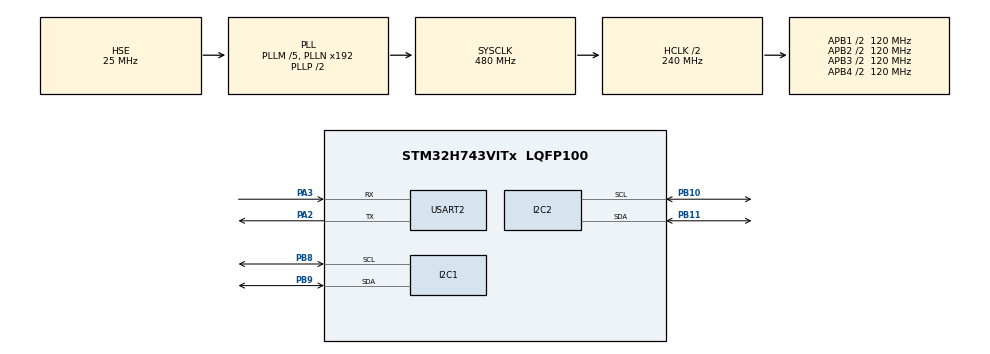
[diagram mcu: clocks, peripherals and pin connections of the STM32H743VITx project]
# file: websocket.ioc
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CORTEX_M7.default_mode_Activation=1
Dma.Request0=USART2_RX
Dma.Request1=USART2_TX
Dma.USART2_RX.0.Direction=DMA_PERIPH_TO_MEMORY
Dma.USART2_RX.0.EventEnable=DISABLE
Dma.USART2_RX.0.FIFOMode=DMA_FIFOMODE_DISABLE
Dma.USART2_RX.0.Instance=DMA1_Stream0
Dma.USART2_RX.0.MemDataAlignment=DMA_MDATAALIGN_BYTE
Dma.USART2_RX.0.MemInc=DMA_MINC_ENABLE
Dma.USART2_RX.0.Mode=DMA_NORMAL
Dma.USART2_RX.0.PeriphDataAlignment=DMA_PDATAALIGN_BYTE
Dma.USART2_RX.0.PeriphInc=DMA_PINC_DISABLE
Dma.USART2_RX.0.Polarity=HAL_DMAMUX_REQ_GEN_RISING
Dma.USART2_RX.0.Priority=DMA_PRIORITY_HIGH
Dma.USART2_RX.0.RequestNumber=1
Dma.USART2_RX.0.SignalID=NONE
Dma.USART2_RX.0.SyncEnable=DISABLE
Dma.USART2_RX.0.SyncPolarity=HAL_DMAMUX_SYNC_NO_EVENT
Dma.USART2_RX.0.SyncRequestNumber=1
Dma.USART2_RX.0.SyncSignalID=NONE
Dma.USART2_TX.1.Direction=DMA_MEMORY_TO_PERIPH
Dma.USART2_TX.1.EventEnable=DISABLE
Dma.USART2_TX.1.FIFOMode=DMA_FIFOMODE_DISABLE
Dma.USART2_TX.1.Instance=DMA1_Stream1
Dma.USART2_TX.1.MemDataAlignment=DMA_MDATAALIGN_BYTE
Dma.USART2_TX.1.MemInc=DMA_MINC_ENABLE
Dma.USART2_TX.1.Mode=DMA_NORMAL
Dma.USART2_TX.1.PeriphDataAlignment=DMA_PDATAALIGN_BYTE
Dma.USART2_TX.1.PeriphInc=DMA_PINC_DISABLE
Dma.USART2_TX.1.Polarity=HAL_DMAMUX_REQ_GEN_RISING
Dma.USART2_TX.1.Priority=DMA_PRIORITY_LOW
Dma.USART2_TX.1.RequestNumber=1
Dma.USART2_TX.1.SignalID=NONE
Dma.USART2_TX.1.SyncEnable=DISABLE
Dma.USART2_TX.1.SyncPolarity=HAL_DMAMUX_SYNC_NO_EVENT
Dma.USART2_TX.1.SyncRequestNumber=1
Dma.USART2_TX.1.SyncSignalID=NONE
FREERTOS.Tasks01=SafetyTask,40,256,StartSafetyTask,Default,NULL,Dynamic,NULL,NULL;ServoTask,32,384,StartServoTask,Default,NULL,Dynamic,NULL,NULL;EspRxTask,24,512,StartEspRxTask,Default,NULL,Dynamic,NULL,NULL;EspTxTask,24,512,StartEspTxTask,Default,NULL,Dynamic,NULL,NULL;OledTask,16,512,StartOledTask,Default,NULL,Dynamic,NULL,NULL;MonitorTask,8,256,StartMonitorTask,Default,NULL,Dynamic,NULL,NULL
FREERTOS.configCHECK_FOR_STACK_OVERFLOW=2
FREERTOS.configSUPPORT_STATIC_ALLOCATION=0
FREERTOS.configTOTAL_HEAP_SIZE=32768
FREERTOS.configUSE_MALLOC_FAILED_HOOK=1
I2C1.Timing=0x307075B1
I2C2.Timing=0x307075B1
Mcu.Family=STM32H7
Mcu.Name=STM32H743VITx
Mcu.Package=LQFP100
NVIC.DMA1_Stream0_IRQn=true\:5\:0\:false\:false\:true\:true\:false\:true\:true
NVIC.DMA1_Stream1_IRQn=true\:6\:0\:false\:false\:true\:true\:false\:true\:true
NVIC.PriorityGroup=NVIC_PRIORITYGROUP_4
NVIC.TIM6_DAC_IRQn=true\:15\:0\:false\:false\:true\:false\:false\:true\:false
NVIC.USART2_IRQn=true\:5\:0\:false\:false\:true\:true\:true\:true\:true
PA2.Mode=Asynchronous
PA2.Signal=USART2_TX
PA3.Mode=Asynchronous
PA3.Signal=USART2_RX
PB10.Mode=I2C
PB10.Signal=I2C2_SCL
PB11.Mode=I2C
PB11.Signal=I2C2_SDA
PB8.Mode=I2C
PB8.Signal=I2C1_SCL
PB9.Mode=I2C
PB9.Signal=I2C1_SDA
PH0-OSC_IN\ (PH0).Mode=HSE-External-Oscillator
PH0-OSC_IN\ (PH0).Signal=RCC_OSC_IN
PH1-OSC_OUT\ (PH1).Mode=HSE-External-Oscillator
PH1-OSC_OUT\ (PH1).Signal=RCC_OSC_OUT
ProjectManager.HeapSize=0x200
ProjectManager.StackSize=0x400
ProjectManager.TargetToolchain=MDK-ARM V5.32
RCC.ADCFreq_Value=50390625
RCC.APB1Freq_Value=120000000
RCC.APB2Freq_Value=120000000
RCC.APB3Freq_Value=120000000
RCC.APB4Freq_Value=120000000
RCC.CortexFreq_Value=480000000
RCC.D1PPRE=RCC_APB3_DIV2
RCC.D2PPRE1=RCC_APB1_DIV2
RCC.D2PPRE2=RCC_APB2_DIV2
RCC.D3PPRE=RCC_APB4_DIV2
RCC.DIVM1=5
RCC.DIVN1=192
RCC.HCLKFreq_Value=240000000
RCC.HPRE=RCC_HCLK_DIV2
RCC.PLLFRACN=0
RCC.PLLSourceVirtual=RCC_PLLSOURCE_HSE
RCC.SYSCLKFreq_VALUE=480000000
RCC.SYSCLKSource=RCC_SYSCLKSOURCE_PLLCLK
RCC.USBFreq_Value=480000000
USART2.VirtualMode-Asynchronous=VM_ASYNC
VP_FREERTOS_VS_CMSIS_V2.Mode=CMSIS_V2
VP_MEMORYMAP_VS_MEMORYMAP.Mode=CurAppReg
VP_SYS_VS_tim6.Mode=TIM6
board=custom

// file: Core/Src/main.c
/* USER CODE BEGIN Header */
/**
  ******************************************************************************
  * @file           : main.c
  * @brief          : Main program body
  ******************************************************************************
  * @attention
  *
  * Copyright (c) 2026 STMicroelectronics.
  * All rights reserved.
  *
  * This software is licensed under terms that can be found in the LICENSE file
  * in the root directory of this software component.
  * If no LICENSE file comes with this software, it is provided AS-IS.
  *
  ******************************************************************************
  */
/* USER CODE END Header */
#include "main.h"
#include "FreeRTOS.h"
#include "cmsis_os2.h"
#include "dma.h"
#include "i2c.h"
#include "usart.h"
#include "gpio.h"

/* USER CODE BEGIN Includes */
#include "servo_manager.h"
#include "system_status.h"

/* USER CODE END Includes */

void SystemClock_Config(void);
static void MPU_Config(void);
void MX_FREERTOS_Init(void);

int main(void)
{

  /* MPU Configuration--------------------------------------------------------*/
  MPU_Config();

  /* MCU Configuration--------------------------------------------------------*/

  /* Reset of all peripherals, Initializes the Flash interface and the Systick. */
  HAL_Init();

  /* USER CODE BEGIN Init */
  SCB_EnableICache();
  SCB_EnableDCache();

  /* USER CODE END Init */

  /* Configure the system clock */
  SystemClock_Config();

  /* Initialize all configured peripherals */
  MX_GPIO_Init();
  MX_DMA_Init();
  MX_I2C1_Init();
  MX_I2C2_Init();
  MX_USART2_UART_Init();
  /* USER CODE BEGIN 2 */
  SystemStatus_Reset(0U);
  ServoManager_Init();

  /* USER CODE END 2 */

  /* Init scheduler */
  osKernelInitialize();  /* Call init function for freertos objects (in cmsis_os2.c) */
  MX_FREERTOS_Init();

  /* Start scheduler */
  osKernelStart();

  /* We should never get here as control is now taken by the scheduler */

  /* Infinite loop */
  while (1)
  {

  }
}

void SystemClock_Config(void)
{
  RCC_OscInitTypeDef RCC_OscInitStruct = {0};
  RCC_ClkInitTypeDef RCC_ClkInitStruct = {0};

  /** Supply configuration update enable
  */
  HAL_PWREx_ConfigSupply(PWR_LDO_SUPPLY);

  /** Configure the main internal regulator output voltage
  */
  __HAL_PWR_VOLTAGESCALING_CONFIG(PWR_REGULATOR_VOLTAGE_SCALE0);

  while(!__HAL_PWR_GET_FLAG(PWR_FLAG_VOSRDY)) {}

  /** Initializes the RCC Oscillators according to the specified parameters
  * in the RCC_OscInitTypeDef structure.
  */
  RCC_OscInitStruct.OscillatorType = RCC_OSCILLATORTYPE_HSE;
  RCC_OscInitStruct.HSEState = RCC_HSE_ON;
  RCC_OscInitStruct.PLL.PLLState = RCC_PLL_ON;
  RCC_OscInitStruct.PLL.PLLSource = RCC_PLLSOURCE_HSE;
  RCC_OscInitStruct.PLL.PLLM = 5;
  RCC_OscInitStruct.PLL.PLLN = 192;
  RCC_OscInitStruct.PLL.PLLP = 2;
  RCC_OscInitStruct.PLL.PLLQ = 2;
  RCC_OscInitStruct.PLL.PLLR = 2;
  RCC_OscInitStruct.PLL.PLLRGE = RCC_PLL1VCIRANGE_2;
  RCC_OscInitStruct.PLL.PLLVCOSEL = RCC_PLL1VCOWIDE;
  RCC_OscInitStruct.PLL.PLLFRACN = 0;
  if (HAL_RCC_OscConfig(&RCC_OscInitStruct) != HAL_OK)
  {
    Error_Handler();
  }

  /** Initializes the CPU, AHB and APB buses clocks
  */
  RCC_ClkInitStruct.ClockType = RCC_CLOCKTYPE_HCLK|RCC_CLOCKTYPE_SYSCLK
                              |RCC_CLOCKTYPE_PCLK1|RCC_CLOCKTYPE_PCLK2
                              |RCC_CLOCKTYPE_D3PCLK1|RCC_CLOCKTYPE_D1PCLK1;
  RCC_ClkInitStruct.SYSCLKSource = RCC_SYSCLKSOURCE_PLLCLK;
  RCC_ClkInitStruct.SYSCLKDivider = RCC_SYSCLK_DIV1;
  RCC_ClkInitStruct.AHBCLKDivider = RCC_HCLK_DIV2;
  RCC_ClkInitStruct.APB3CLKDivider = RCC_APB3_DIV2;
  RCC_ClkInitStruct.APB1CLKDivider = RCC_APB1_DIV2;
  RCC_ClkInitStruct.APB2CLKDivider = RCC_APB2_DIV2;
  RCC_ClkInitStruct.APB4CLKDivider = RCC_APB4_DIV2;

  if (HAL_RCC_ClockConfig(&RCC_ClkInitStruct, FLASH_LATENCY_4) != HAL_OK)
  {
    Error_Handler();
  }
}

 /* MPU Configuration */

void MPU_Config(void)
{
  MPU_Region_InitTypeDef MPU_InitStruct = {0};

  /* Disables the MPU */
  HAL_MPU_Disable();

  /** Initializes and configures the Region and the memory to be protected
  */
  MPU_InitStruct.Enable = MPU_REGION_ENABLE;
  MPU_InitStruct.Number = MPU_REGION_NUMBER0;
  MPU_InitStruct.BaseAddress = 0x0;
  MPU_InitStruct.Size = MPU_REGION_SIZE_4GB;
  MPU_InitStruct.SubRegionDisable = 0x87;
  MPU_InitStruct.TypeExtField = MPU_TEX_LEVEL0;
  MPU_InitStruct.AccessPermission = MPU_REGION_NO_ACCESS;
  MPU_InitStruct.DisableExec = MPU_INSTRUCTION_ACCESS_DISABLE;
  MPU_InitStruct.IsShareable = MPU_ACCESS_SHAREABLE;
  MPU_InitStruct.IsCacheable = MPU_ACCESS_NOT_CACHEABLE;
  MPU_InitStruct.IsBufferable = MPU_ACCESS_NOT_BUFFERABLE;

  HAL_MPU_ConfigRegion(&MPU_InitStruct);
  /* Enables the MPU */
  HAL_MPU_Enable(MPU_PRIVILEGED_DEFAULT);

}

void Error_Handler(void)
{
  __disable_irq();
  while (1)
  {
  }
}

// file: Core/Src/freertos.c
/* USER CODE BEGIN Header */
/**
  ******************************************************************************
  * @file    freertos.c
  * @brief   CMSIS-RTOS V2 objects and the six application tasks.
  ******************************************************************************
  */
/* USER CODE END Header */

#include "FreeRTOS.h"
#include "task.h"
#include "cmsis_os2.h"
#include "main.h"

/* USER CODE BEGIN Includes */
#include "esp_link.h"
#include "esp_protocol.h"
#include "i2c.h"
#include "oled_status.h"
#include "queue.h"
#include "semphr.h"
#include "servo_manager.h"
#include "stream_buffer.h"
#include "system_status.h"
#include "usart.h"
#include <string.h>
/* USER CODE END Includes */

#define SERVO_CMD_QUEUE_LENGTH  8U
#define ESP_TX_QUEUE_LENGTH     12U
#define SAFETY_PERIOD_MS        50U
#define SERVO_PERIOD_MS         20U
#define OLED_PERIOD_MS          200U
#define MONITOR_PERIOD_MS       500U
#define HEARTBEAT_TIMEOUT_MS    2500U
#define STACK_CHECK_PERIOD_MS   2000U
#define STACK_WARNING_WORDS     64U

QueueHandle_t ServoCmdQueueHandle;
QueueHandle_t EspTxQueueHandle;
SemaphoreHandle_t SystemStatusMutexHandle;
StreamBufferHandle_t UartRxStreamBufferHandle;

osThreadId_t SafetyTaskHandle;
osThreadId_t ServoTaskHandle;
osThreadId_t EspRxTaskHandle;
osThreadId_t EspTxTaskHandle;
osThreadId_t OledTaskHandle;
osThreadId_t MonitorTaskHandle;

const osThreadAttr_t SafetyTask_attributes =
{
  .name = "SafetyTask",
  .stack_size = 256U * 4U,
  .priority = (osPriority_t)osPriorityHigh
};
const osThreadAttr_t ServoTask_attributes =
{
  .name = "ServoTask",
  .stack_size = 384U * 4U,
  .priority = (osPriority_t)osPriorityAboveNormal
};
const osThreadAttr_t EspRxTask_attributes =
{
  .name = "EspRxTask",
  .stack_size = 512U * 4U,
  .priority = (osPriority_t)osPriorityNormal
};
const osThreadAttr_t EspTxTask_attributes =
{
  .name = "EspTxTask",
  .stack_size = 512U * 4U,
  .priority = (osPriority_t)osPriorityNormal
};
const osThreadAttr_t OledTask_attributes =
{
  .name = "OledTask",
  .stack_size = 512U * 4U,
  .priority = (osPriority_t)osPriorityBelowNormal
};
const osThreadAttr_t MonitorTask_attributes =
{
  .name = "MonitorTask",
  .stack_size = 256U * 4U,
  .priority = (osPriority_t)osPriorityLow
};

void StartSafetyTask(void *argument);
void StartServoTask(void *argument);
void StartEspRxTask(void *argument);
void StartEspTxTask(void *argument);
void StartOledTask(void *argument);
void StartMonitorTask(void *argument);

static void App_PostError(uint32_t seq, EspErrorCode_t error)
{
  EspTxMessage_t message;

  (void)memset(&message, 0, sizeof(message));
  message.type = ESP_TX_ACK_ERROR;
  message.seq = seq;
  message.error = error;
  if (!ESPLink_QueueTx(&message, 0U))
  {
    SystemStatus_Increment(STATUS_COUNTER_QUEUE_FULL, 1U);
  }
  SystemStatus_SetError(ESPProtocol_ErrorText(error));
}

static void App_PostState(void)
{
  EspTxMessage_t message;
  SystemStatus_t status;
  uint8_t index;

  SystemStatus_GetSnapshot(&status);
  (void)memset(&message, 0, sizeof(message));
  message.type = ESP_TX_STATE;
  for (index = 0U; index < SERVO_COUNT; index++)
  {
    message.angles[index] = status.servo_angles[index];
  }
  message.moving = status.servo_moving;
  if (!ESPLink_QueueTx(&message, 0U))
  {
    SystemStatus_Increment(STATUS_COUNTER_QUEUE_FULL, 1U);
  }
}

static EspErrorCode_t App_ErrorFromText(const char *text)
{
  if (text == NULL) return ESP_ERROR_FORMAT;
  if (strcmp(text, "INVALID_ID") == 0) return ESP_ERROR_INVALID_ID;
  if (strcmp(text, "ANGLE_OUT_OF_RANGE") == 0) return ESP_ERROR_ANGLE_RANGE;
  if (strcmp(text, "SPEED_OUT_OF_RANGE") == 0) return ESP_ERROR_SPEED_RANGE;
  return ESP_ERROR_FORMAT;
}

static void App_HandleRxPacket(const EspRxPacket_t *packet)
{
  const char *validation_error;

  if (packet == NULL) { return; }
  switch (packet->type)
  {
    case ESP_RX_SERVO_COMMAND:
      if (!ServoManager_ValidateCommand(&packet->servo, &validation_error))
      {
        App_PostError(packet->servo.seq, App_ErrorFromText(validation_error));
        break;
      }
      if (packet->servo.type == SERVO_CMD_STOP)
      {
        SystemStatus_RequestStop(packet->servo.seq);
      }
      else
      {
        SystemStatus_SetSafetyStop(false, NULL);
        if (xQueueSend(ServoCmdQueueHandle, &packet->servo, 0U) != pdPASS)
        {
          SystemStatus_Increment(STATUS_COUNTER_QUEUE_FULL, 1U);
          App_PostError(packet->servo.seq, ESP_ERROR_QUEUE_FULL);
        }
      }
      break;
    case ESP_RX_HEARTBEAT:
      SystemStatus_Heartbeat(osKernelGetTickCount());
      break;
    case ESP_RX_QUERY:
      App_PostState();
      break;
    case ESP_RX_NET_BOOT:
      SystemStatus_SetNetwork(NET_BOOT, NULL);
      break;
    case ESP_RX_NET_CONNECTING:
      SystemStatus_SetNetwork(NET_CONNECTING, NULL);
      break;
    case ESP_RX_NET_CONNECTED:
      SystemStatus_SetNetwork(NET_CONNECTED, packet->ip_address);
      break;
    case ESP_RX_NET_FAILED:
      SystemStatus_SetNetwork(NET_FAILED, NULL);
      break;
    case ESP_RX_NET_LOST:
      SystemStatus_SetNetwork(NET_LOST, NULL);
      break;
    case ESP_RX_HTTP_READY:
      SystemStatus_SetHttpReady(packet->port == 80U);
      break;
    case ESP_RX_WS_READY:
      SystemStatus_SetWebSocketReady(packet->port == 81U);
      break;
    case ESP_RX_WS_CLIENTS:
      SystemStatus_SetWebSocketClients(packet->clients);
      break;
    default:
      break;
  }
}

void MX_FREERTOS_Init(void)
{
  SystemStatusMutexHandle = xSemaphoreCreateMutex();
  ServoCmdQueueHandle = xQueueCreate(SERVO_CMD_QUEUE_LENGTH,
                                     sizeof(ServoCommand_t));
  EspTxQueueHandle = xQueueCreate(ESP_TX_QUEUE_LENGTH,
                                  sizeof(EspTxMessage_t));
  UartRxStreamBufferHandle = xStreamBufferCreate(ESP_UART_RX_STREAM_SIZE, 1U);
  if ((SystemStatusMutexHandle == NULL) || (ServoCmdQueueHandle == NULL) ||
      (EspTxQueueHandle == NULL) || (UartRxStreamBufferHandle == NULL))
  {
    Error_Handler();
  }
  SystemStatus_AttachMutex(SystemStatusMutexHandle);
  ESPLink_Init(&huart2, UartRxStreamBufferHandle, EspTxQueueHandle);

  SafetyTaskHandle = osThreadNew(StartSafetyTask, NULL, &SafetyTask_attributes);
  ServoTaskHandle = osThreadNew(StartServoTask, NULL, &ServoTask_attributes);
  EspRxTaskHandle = osThreadNew(StartEspRxTask, NULL, &EspRxTask_attributes);
  EspTxTaskHandle = osThreadNew(StartEspTxTask, NULL, &EspTxTask_attributes);
  OledTaskHandle = osThreadNew(StartOledTask, NULL, &OledTask_attributes);
  MonitorTaskHandle = osThreadNew(StartMonitorTask, NULL, &MonitorTask_attributes);
  if ((SafetyTaskHandle == NULL) || (ServoTaskHandle == NULL) ||
      (EspRxTaskHandle == NULL) || (EspTxTaskHandle == NULL) ||
      (OledTaskHandle == NULL) || (MonitorTaskHandle == NULL))
  {
    Error_Handler();
  }
}

void StartSafetyTask(void *argument)
{
  TickType_t last_wake = xTaskGetTickCount();
  SystemStatus_t status;
  ServoCommand_t stop_command;
  bool stop_latched = false;
  bool manual_stop;
  bool heartbeat_lost;
  bool network_lost;
  bool no_clients;
  bool unsafe;

  (void)argument;
  (void)memset(&stop_command, 0, sizeof(stop_command));
  stop_command.type = SERVO_CMD_STOP;
  for (;;)
  {
    SystemStatus_GetSnapshot(&status);
    manual_stop = SystemStatus_ConsumeStopRequest(&stop_command.seq);
    if (!manual_stop) { stop_command.seq = 0U; }
    heartbeat_lost = ((xTaskGetTickCount() - status.last_heartbeat_tick) >
                      pdMS_TO_TICKS(HEARTBEAT_TIMEOUT_MS));
    network_lost = (status.network_state == NET_LOST);
    no_clients = (status.websocket_clients == 0U);
    unsafe = manual_stop || heartbeat_lost || network_lost || no_clients;
    if (heartbeat_lost || network_lost) { SystemStatus_SetLinkAlive(false); }
    if (unsafe && (!stop_latched || manual_stop))
    {
      (void)xQueueReset(ServoCmdQueueHandle);
      if (xQueueSend(ServoCmdQueueHandle, &stop_command, 0U) != pdPASS)
      {
        SystemStatus_Increment(STATUS_COUNTER_QUEUE_FULL, 1U);
      }
      SystemStatus_SetSafetyStop(true, manual_stop ? "STOP" :
                                 ((heartbeat_lost || network_lost) ?
                                  "LINK LOST" : "NO CLIENT"));
      stop_latched = true;
    }
    else if (!unsafe)
    {
      stop_latched = false;
      SystemStatus_SetSafetyStop(false, NULL);
    }
    vTaskDelayUntil(&last_wake, pdMS_TO_TICKS(SAFETY_PERIOD_MS));
  }
}

void StartServoTask(void *argument)
{
  TickType_t last_wake = xTaskGetTickCount();
  TickType_t last_retry = last_wake - pdMS_TO_TICKS(1000U);
  ServoCommand_t command;
  EspTxMessage_t ack;
  const ServoConfig_t *config;
  bool hardware_ready = false;
  bool i2c_error_latched = false;
  uint8_t first;
  uint8_t last;
  uint8_t servo_id;

  (void)argument;
  for (;;)
  {
    if (!hardware_ready &&
        ((xTaskGetTickCount() - last_retry) >= pdMS_TO_TICKS(1000U)))
    {
      last_retry = xTaskGetTickCount();
      hardware_ready = (ServoManager_InitHardware(&hi2c1) == HAL_OK);
      if (!hardware_ready)
      {
        SystemStatus_Increment(STATUS_COUNTER_I2C, 1U);
        SystemStatus_Increment(STATUS_COUNTER_PCA9685, 1U);
        App_PostError(0U, ESP_ERROR_PCA9685);
      }
    }

    while (xQueueReceive(ServoCmdQueueHandle, &command, 0U) == pdPASS)
    {
      if (!hardware_ready && (command.type != SERVO_CMD_STOP))
      {
        App_PostError(command.seq, ESP_ERROR_PCA9685);
        continue;
      }
      ServoManager_ApplyCommand(&command);
      first = (command.type == SERVO_CMD_SINGLE) ? command.servo_id :
              ((command.type == SERVO_CMD_ALL) ? 1U : 0U);
      last = (command.type == SERVO_CMD_ALL) ? SERVO_COUNT : first;
      for (servo_id = first; servo_id <= last; servo_id++)
      {
        (void)memset(&ack, 0, sizeof(ack));
        ack.type = ESP_TX_ACK_OK;
        ack.seq = command.seq;
        ack.servo_id = servo_id;
        if (servo_id > 0U)
        {
          config = ServoManager_GetConfig(servo_id);
          ack.angle = (command.type == SERVO_CMD_HOME) ?
                      (int16_t)config->home_angle :
                      command.angles[servo_id - 1U];
          ack.pulse_us = ServoManager_GetPulseUs(servo_id, (float)ack.angle);
        }
        if (!ESPLink_QueueTx(&ack, 0U))
        {
          SystemStatus_Increment(STATUS_COUNTER_QUEUE_FULL, 1U);
        }
      }
    }

    if (hardware_ready)
    {
      if (ServoManager_Update20ms() != HAL_OK)
      {
        if (!i2c_error_latched)
        {
          SystemStatus_Increment(STATUS_COUNTER_I2C, 1U);
          SystemStatus_Increment(STATUS_COUNTER_PCA9685, 1U);
          SystemStatus_SetPca9685Ready(false);
          App_PostError(0U, ESP_ERROR_I2C);
          i2c_error_latched = true;
          hardware_ready = false;
        }
      }
      else { i2c_error_latched = false; }
    }
    vTaskDelayUntil(&last_wake, pdMS_TO_TICKS(SERVO_PERIOD_MS));
  }
}

void StartEspRxTask(void *argument)
{
  uint8_t input[64];
  size_t received;
  size_t index;
  EspFrameCollector_t collector;
  EspCollectResult_t result;
  EspRxPacket_t packet;
  EspErrorCode_t error;

  (void)argument;
  ESPProtocol_CollectorInit(&collector);
  if (ESPLink_StartReceive() != HAL_OK)
  {
    SystemStatus_Increment(STATUS_COUNTER_UART, 1U);
    SystemStatus_SetError("UART RX START");
  }
  for (;;)
  {
    received = ESPLink_Read(input, sizeof(input), portMAX_DELAY);
    for (index = 0U; index < received; index++)
    {
      result = ESPProtocol_CollectByte(&collector, input[index]);
      if (result == ESP_COLLECT_OVERFLOW)
      {
        SystemStatus_Increment(STATUS_COUNTER_UART_OVERFLOW, 1U);
        App_PostError(0U, ESP_ERROR_BUFFER_OVERFLOW);
      }
      else if (result == ESP_COLLECT_FRAME)
      {
        error = ESPProtocol_ParseFrame(collector.data, collector.length, &packet);
        if (error == ESP_ERROR_NONE) { App_HandleRxPacket(&packet); }
        else
        {
          if (error == ESP_ERROR_CRC)
          {
            SystemStatus_Increment(STATUS_COUNTER_CRC, 1U);
          }
          App_PostError(0U, error);
        }
      }
    }
  }
}

void StartEspTxTask(void *argument)
{
  EspTxMessage_t message;

  (void)argument;
  (void)memset(&message, 0, sizeof(message));
  message.type = ESP_TX_READY;
  if (!ESPLink_QueueTx(&message, 0U))
  {
    SystemStatus_Increment(STATUS_COUNTER_QUEUE_FULL, 1U);
  }
  for (;;)
  {
    if (xQueueReceive(EspTxQueueHandle, &message, portMAX_DELAY) == pdPASS)
    {
      if (ESPLink_TransmitMessage(&message) != HAL_OK)
      {
        SystemStatus_Increment(STATUS_COUNTER_UART, 1U);
      }
    }
  }
}

void StartOledTask(void *argument)
{
  SystemStatus_t status;
  uint32_t page_counter = 0U;
  uint32_t retry_elapsed = 5000U;
  bool ready = false;

  (void)argument;
  for (;;)
  {
    if (!ready)
    {
      retry_elapsed += OLED_PERIOD_MS;
      if (retry_elapsed >= 5000U)
      {
        retry_elapsed = 0U;
        ready = (OLEDStatus_Init(&hi2c2) == HAL_OK);
        SystemStatus_SetOledReady(ready);
        if (ready)
        {
          ready = (OLEDStatus_ShowStartup() == HAL_OK);
        }
        else
        {
          SystemStatus_Increment(STATUS_COUNTER_I2C, 1U);
          SystemStatus_Increment(STATUS_COUNTER_OLED, 1U);
          SystemStatus_SetError("OLED ERROR");
        }
      }
    }
    else
    {
      SystemStatus_GetSnapshot(&status);
      if (OLEDStatus_Render(&status, page_counter++) != HAL_OK)
      {
        ready = false;
        SystemStatus_SetOledReady(false);
        SystemStatus_Increment(STATUS_COUNTER_I2C, 1U);
        SystemStatus_Increment(STATUS_COUNTER_OLED, 1U);
        SystemStatus_SetError("OLED ERROR");
      }
    }
    osDelay(OLED_PERIOD_MS);
  }
}

void StartMonitorTask(void *argument)
{
  static const char *const names[6] =
  {
    "SafetyTask", "ServoTask", "EspRxTask", "EspTxTask", "OledTask", "MonitorTask"
  };
  osThreadId_t handles[6];
  bool warned[6] = {false, false, false, false, false, false};
  uint32_t elapsed = 0U;
  uint32_t count;
  uint8_t index;
  UBaseType_t remaining;
  EspTxMessage_t warning;

  (void)argument;
  handles[0] = SafetyTaskHandle;
  handles[1] = ServoTaskHandle;
  handles[2] = EspRxTaskHandle;
  handles[3] = EspTxTaskHandle;
  handles[4] = OledTaskHandle;
  handles[5] = MonitorTaskHandle;
  for (;;)
  {
    App_PostState();
    count = ESPLink_TakeUartErrorCount();
    if (count > 0U) { SystemStatus_Increment(STATUS_COUNTER_UART, count); }
    count = ESPLink_TakeOverflowCount();
    if (count > 0U) { SystemStatus_Increment(STATUS_COUNTER_UART_OVERFLOW, count); }
    ESPLink_ServiceReceive();

    elapsed += MONITOR_PERIOD_MS;
    if (elapsed >= STACK_CHECK_PERIOD_MS)
    {
      elapsed = 0U;
      for (index = 0U; index < 6U; index++)
      {
        remaining = uxTaskGetStackHighWaterMark((TaskHandle_t)handles[index]);
        if ((remaining < STACK_WARNING_WORDS) && !warned[index])
        {
          warned[index] = true;
          SystemStatus_Increment(STATUS_COUNTER_LOW_STACK, 1U);
          (void)memset(&warning, 0, sizeof(warning));
          warning.type = ESP_TX_STACK_WARNING;
          (void)memcpy(warning.task_name, names[index], strlen(names[index]) + 1U);
          warning.stack_words = (uint16_t)remaining;
          if (!ESPLink_QueueTx(&warning, 0U))
          {
            SystemStatus_Increment(STATUS_COUNTER_QUEUE_FULL, 1U);
          }
        }
      }
    }
    osDelay(MONITOR_PERIOD_MS);
  }
}

void vApplicationStackOverflowHook(TaskHandle_t task, char *task_name)
{
  (void)task;
  (void)task_name;
  taskDISABLE_INTERRUPTS();
  for (;;) { }
}

void vApplicationMallocFailedHook(void)
{
  taskDISABLE_INTERRUPTS();
  for (;;) { }
}
